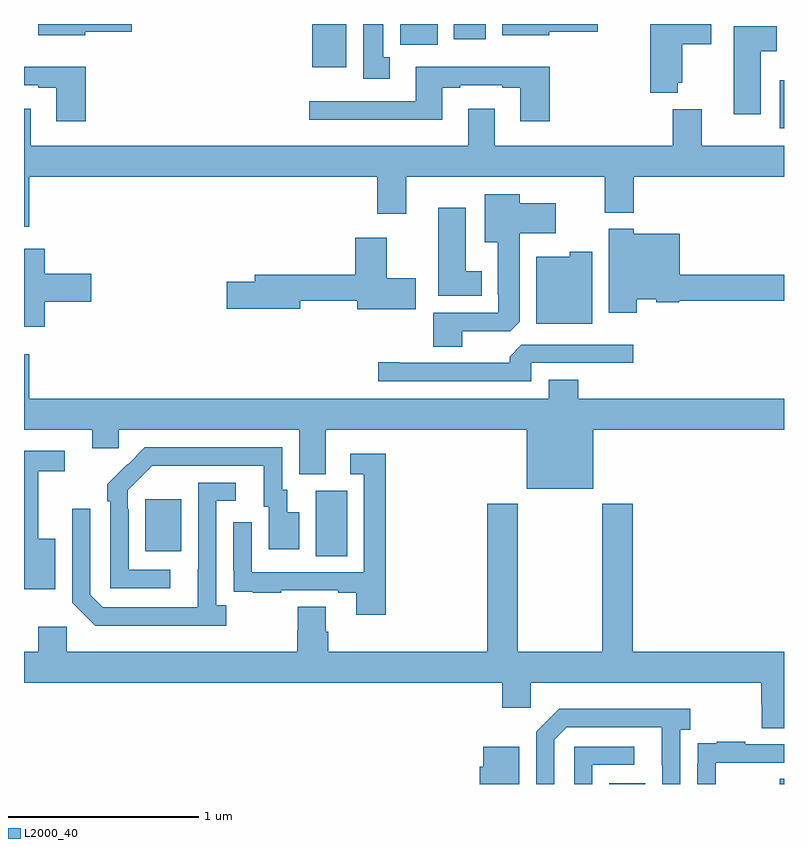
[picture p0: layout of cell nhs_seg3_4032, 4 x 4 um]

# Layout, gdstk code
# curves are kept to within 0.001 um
import gdstk
lib = gdstk.Library(unit=1e-6, precision=1e-09)
def R(c, l, rs):  # rectangles x0, y0, x1, y1
    for r in rs: c.add(gdstk.rectangle(r[:2], r[2:], *l))
def P(c, l, *ps):  # polygons
    for p in ps: c.add(gdstk.Polygon(p, *l))
L2000_40 = (2000, 40)

nhs_seg3_4032 = lib.new_cell('nhs_seg3_4032')
R(nhs_seg3_4032, L2000_40, [(326.081,684.4,326.269,684.403), (326.978,684.4,327,684.428), (324.536,685.6,324.7,685.944), (323.639,685.625,323.827,685.9), (326.978,687.851,327,688.105), (324.518,688.172,324.697,688.4), (324.98,688.292,325.177,688.4), (325.262,688.32,325.429,688.4)])
P(nhs_seg3_4032, L2000_40, [(324.925,688.226),(324.892,688.226),(324.892,688.4),(324.785,688.4),(324.785,688.113),(324.925,688.113)],
  [(323.322,688.358),(323.566,688.358),(323.566,688.4),(323.075,688.4),(323.075,688.34),(323.322,688.34)],
  [(325.764,688.358),(326.021,688.358),(326.021,688.4),(325.517,688.4),(325.517,688.34),(325.764,688.34)],
  [(326.442,688.091),(326.464,688.091),(326.464,688.294),(326.617,688.294),(326.617,688.4),(326.297,688.4),(326.297,688.037),(326.442,688.037)],
  [(326.878,688.256),(326.962,688.256),(326.962,688.387),(326.735,688.387),(326.735,687.924),(326.878,687.924)],
  [(325.766,688.174),(325.061,688.174),(325.061,687.993),(324.501,687.993),(324.501,687.896),(325.201,687.896),(325.201,688.065),(325.297,688.065),(325.297,688.077),(325.517,688.077),(325.517,688.065),(325.613,688.065),(325.613,687.888),(325.766,687.888)],
  [(323.324,688.174),(323,688.174),(323,688.077),(323.075,688.077),(323.075,688.065),(323.171,688.065),(323.171,687.888),(323.324,687.888)],
  [(323.027,687.596),(324.86,687.596),(324.86,687.402),(325.012,687.402),(325.012,687.596),(326.057,687.596),(326.057,687.407),(326.21,687.407),(326.21,687.596),(327,687.596),(327,687.76),(326.566,687.76),(326.566,687.952),(326.414,687.952),(326.414,687.76),(325.477,687.76),(325.477,687.955),(325.337,687.955),(325.337,687.76),(323.035,687.76),(323.035,687.955),(323,687.955),(323,687.333),(323.027,687.333)],
  [(325.306,686.784),(325.56,686.784),(325.609,686.833),(325.609,687.299),(325.798,687.299),(325.798,687.457),(325.609,687.457),(325.609,687.505),(325.424,687.505),(325.424,687.251),(325.493,687.251),(325.493,686.977),(325.497,686.977),(325.497,686.88),(325.154,686.88),(325.154,686.701),(325.306,686.701)],
  [(325.408,687.1),(325.324,687.1),(325.324,687.433),(325.181,687.433),(325.181,686.969),(325.408,686.969)],
  [(326.225,686.951),(326.328,686.951),(326.328,686.936),(326.448,686.936),(326.448,686.944),(327,686.944),(327,687.08),(326.452,687.08),(326.452,687.295),(326.208,687.295),(326.208,687.322),(326.078,687.322),(326.078,686.88),(326.225,686.88)],
  [(325.063,687.063),(324.91,687.063),(324.91,687.274),(324.743,687.274),(324.743,687.08),(324.215,687.08),(324.215,687.044),(324.066,687.044),(324.066,686.902),(324.454,686.902),(324.454,686.944),(324.755,686.944),(324.755,686.9),(325.063,686.9)],
  [(323.11,686.939),(323.353,686.939),(323.353,687.086),(323.11,687.086),(323.11,687.217),(323,687.217),(323,686.807),(323.11,686.807)],
  [(325.99,687.202),(325.872,687.202),(325.872,687.175),(325.697,687.175),(325.697,686.822),(325.99,686.822)],
  [(325.671,686.616),(326.206,686.616),(326.206,686.712),(325.617,686.712),(325.556,686.65),(325.556,686.616),(324.976,686.616),(324.976,686.621),(324.864,686.621),(324.864,686.52),(325.671,686.52)],
  [(325.763,686.527),(325.763,686.428),(323.027,686.428),(323.027,686.662),(323,686.662),(323,686.264),(323.36,686.264),(323.36,686.166),(323.499,686.166),(323.499,686.264),(324.449,686.264),(324.449,686.029),(324.589,686.029),(324.589,686.264),(325.646,686.264),(325.646,685.955),(325.996,685.955),(325.996,686.264),(327,686.264),(327,686.428),(325.916,686.428),(325.916,686.527)],
  [(323.77,685.527),(323.55,685.527),(323.55,685.847),(323.547,685.847),(323.547,685.947),(323.676,686.076),(324.263,686.076),(324.263,685.86),(324.287,685.86),(324.287,685.635),(324.448,685.635),(324.448,685.831),(324.385,685.831),(324.385,685.95),(324.36,685.95),(324.36,686.172),(323.636,686.172),(323.439,685.977),(323.439,685.889),(323.454,685.889),(323.454,685.431),(323.77,685.431)],
  [(323.164,685.69),(323.075,685.69),(323.075,686.046),(323.215,686.046),(323.215,686.154),(323,686.154),(323,685.426),(323.164,685.426)],
  [(324.905,686.137),(324.717,686.137),(324.717,686.031),(324.789,686.031),(324.789,685.515),(324.198,685.515),(324.198,685.777),(324.102,685.777),(324.102,685.522),(324.103,685.522),(324.103,685.413),(324.205,685.413),(324.205,685.407),(324.353,685.407),(324.353,685.419),(324.653,685.419),(324.653,685.407),(324.749,685.407),(324.749,685.29),(324.905,685.29)],
  [(324.064,685.342),(324.012,685.342),(324.012,685.89),(324.115,685.89),(324.115,685.986),(323.916,685.986),(323.915,685.329),(323.415,685.329),(323.349,685.395),(323.349,685.849),(323.253,685.849),(323.253,685.353),(323.374,685.232),(324.064,685.232)],
  [(327,685.096),(326.204,685.096),(326.204,685.876),(326.044,685.876),(326.044,685.096),(325.599,685.096),(325.599,685.876),(325.439,685.876),(325.439,685.096),(324.602,685.096),(324.602,685.202),(324.589,685.202),(324.589,685.334),(324.442,685.334),(324.442,685.209),(324.437,685.209),(324.437,685.096),(323.226,685.096),(323.226,685.228),(323.075,685.228),(323.075,685.096),(323,685.096),(323,684.932),(325.517,684.932),(325.517,684.801),(325.668,684.801),(325.668,684.932),(326.879,684.932),(326.879,684.819),(326.884,684.819),(326.884,684.694),(327,684.694)],
  [(325.791,684.633),(325.857,684.699),(326.357,684.699),(326.358,684.4),(326.454,684.4),(326.454,684.686),(326.506,684.686),(326.506,684.796),(325.816,684.796),(325.695,684.675),(325.695,684.4),(325.791,684.4)],
  [(326.64,684.513),(327,684.513),(327,684.609),(326.795,684.609),(326.795,684.622),(326.647,684.622),(326.647,684.615),(326.545,684.615),(326.545,684.506),(326.544,684.506),(326.544,684.4),(326.64,684.4)],
  [(325.992,684.501),(326.212,684.501),(326.212,684.597),(325.896,684.597),(325.896,684.4),(325.992,684.4)],
  [(325.606,684.595),(325.418,684.595),(325.418,684.491),(325.399,684.491),(325.399,684.4),(325.606,684.4)])

lib.write_gds('nhs_seg3_4032.gds')
